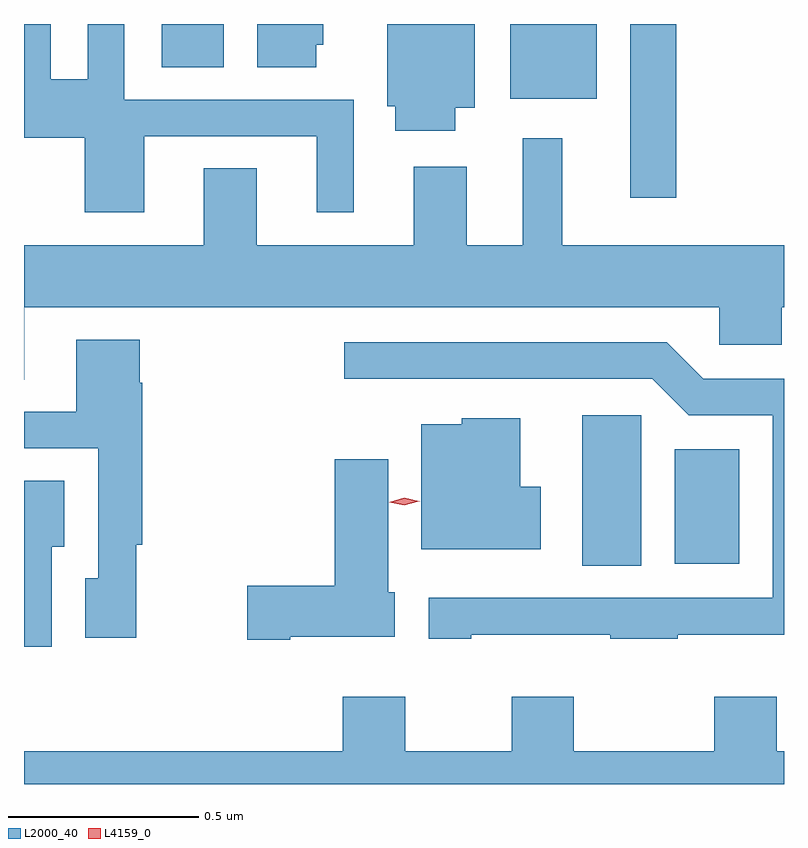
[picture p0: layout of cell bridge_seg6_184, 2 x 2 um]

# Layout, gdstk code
import gdstk
lib = gdstk.Library(unit=1e-6, precision=1e-09)
def R(c, l, rs):  # rectangles x0, y0, x1, y1
    for r in rs: c.add(gdstk.rectangle(r[:2], r[2:], *l))
def P(c, l, *ps):  # polygons
    for p in ps: c.add(gdstk.Polygon(p, *l))
L2000_40 = (2000, 40)
L4159_0 = (4159, 0)

bridge_seg6_184 = lib.new_cell('bridge_seg6_184')
R(bridge_seg6_184, L2000_40, [(173.765,967.969,173.92,968.365), (174.008,967.973,174.178,968.275), (173.891,968.937,174.013,969.394), (173.576,969.197,173.803,969.394), (172.658,969.28,172.822,969.394)])
P(bridge_seg6_184, L2000_40, [(173.431,969.173),(173.482,969.173),(173.482,969.394),(173.252,969.394),(173.252,969.177),(173.273,969.177),(173.273,969.113),(173.431,969.113)],
  [(172.612,969.099),(173.066,969.099),(173.066,968.898),(173.164,968.898),(173.164,969.195),(172.56,969.195),(172.56,969.394),(172.464,969.394),(172.464,969.248),(172.366,969.248),(172.366,969.394),(172.296,969.394),(172.296,969.095),(172.456,969.095),(172.456,968.898),(172.612,968.898)],
  [(173.065,969.339),(173.083,969.339),(173.083,969.394),(172.91,969.394),(172.91,969.28),(173.065,969.28)],
  [(172.297,968.648),(174.126,968.648),(174.126,968.55),(174.29,968.55),(174.29,968.648),(174.296,968.648),(174.296,968.812),(173.713,968.812),(173.713,969.094),(173.609,969.094),(173.609,968.812),(173.461,968.812),(173.461,969.019),(173.321,969.019),(173.321,968.812),(172.909,968.812),(172.909,969.014),(172.769,969.014),(172.769,968.812),(172.296,968.812),(172.296,968.458),(172.297,968.458)],
  [(172.592,968.023),(172.607,968.023),(172.607,968.45),(172.601,968.45),(172.601,968.563),(172.433,968.563),(172.433,968.373),(172.296,968.373),(172.296,968.277),(172.491,968.277),(172.491,967.935),(172.457,967.935),(172.457,967.779),(172.592,967.779)],
  [(173.473,967.787),(173.839,967.787),(173.839,967.776),(174.017,967.776),(174.017,967.787),(174.296,967.787),(174.296,968.46),(174.084,968.46),(173.988,968.556),(173.139,968.556),(173.139,968.46),(173.949,968.46),(174.045,968.364),(174.267,968.364),(174.267,967.884),(173.361,967.884),(173.361,967.776),(173.473,967.776)],
  [(173.656,968.176),(173.602,968.176),(173.602,968.356),(173.448,968.356),(173.448,968.341),(173.342,968.341),(173.342,968.012),(173.656,968.012)],
  [(172.996,967.781),(173.272,967.781),(173.272,967.899),(173.254,967.899),(173.254,968.248),(173.114,968.248),(173.114,967.916),(172.884,967.916),(172.884,967.774),(172.996,967.774)],
  [(172.369,968.018),(172.402,968.018),(172.402,968.192),(172.296,968.192),(172.296,967.755),(172.369,967.755)],
  [(174.296,967.48),(174.277,967.48),(174.277,967.624),(174.113,967.624),(174.113,967.48),(173.743,967.48),(173.743,967.624),(173.579,967.624),(173.579,967.48),(173.299,967.48),(173.299,967.624),(173.135,967.624),(173.135,967.48),(172.296,967.48),(172.296,967.394),(174.296,967.394)])
P(bridge_seg6_184, L4159_0, [(173.297,968.127),(173.257,968.136),(173.257,968.136),(173.257,968.136),(173.296,968.147),(173.336,968.138),(173.337,968.138),(173.336,968.138)])

lib.write_gds('bridge_seg6_184.gds')
